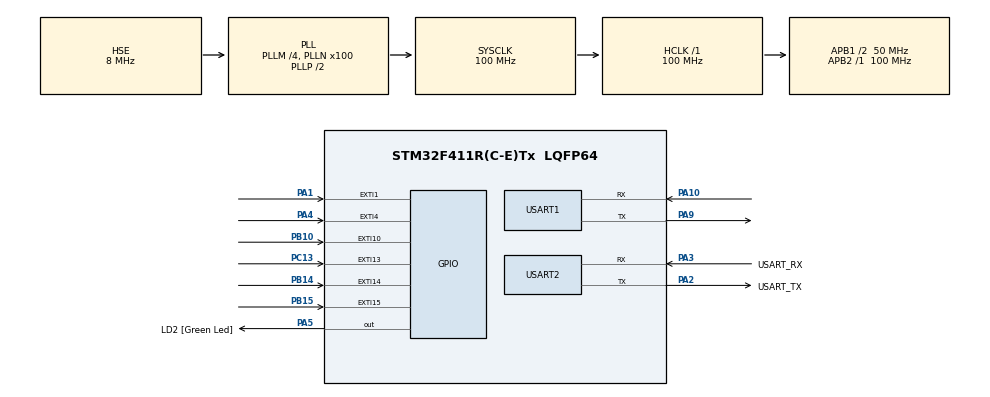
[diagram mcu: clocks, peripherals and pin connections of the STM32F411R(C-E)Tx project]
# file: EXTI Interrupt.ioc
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Mcu.Family=STM32F4
Mcu.Name=STM32F411R(C-E)Tx
Mcu.Package=LQFP64
NVIC.EXTI15_10_IRQn=true\:0\:0\:false\:true\:true\:3\:true\:true
NVIC.PriorityGroup=NVIC_PRIORITYGROUP_0
NVIC.TIM1_UP_TIM10_IRQn=true\:0\:0\:false\:true\:true\:2\:true\:true
NVIC.USART1_IRQn=true\:0\:0\:false\:true\:true\:1\:true\:true
PA1.Signal=GPXTI1
PA10.Mode=Asynchronous
PA10.Signal=USART1_RX
PA13.GPIO_Label=TMS
PA13.Mode=Serial_Wire
PA13.Signal=SYS_JTMS-SWDIO
PA14.GPIO_Label=TCK
PA14.Mode=Serial_Wire
PA14.Signal=SYS_JTCK-SWCLK
PA2.GPIO_Label=USART_TX
PA2.Mode=Asynchronous
PA2.Signal=USART2_TX
PA3.GPIO_Label=USART_RX
PA3.Mode=Asynchronous
PA3.Signal=USART2_RX
PA4.Signal=GPXTI4
PA5.GPIO_Label=LD2 [Green Led]
PA5.Signal=GPIO_Output
PA9.Mode=Asynchronous
PA9.Signal=USART1_TX
PB10.Signal=GPXTI10
PB14.GPIO_ModeDefaultEXTI=GPIO_MODE_IT_RISING
PB14.Signal=GPXTI14
PB15.GPIO_ModeDefaultEXTI=GPIO_MODE_IT_RISING
PB15.Signal=GPXTI15
PB3.GPIO_Label=SWO
PB3.Signal=SYS_JTDO-SWO
PC13-ANTI_TAMP.Signal=GPXTI13
PC14-OSC32_IN.Mode=LSE-External-Oscillator
PC14-OSC32_IN.Signal=RCC_OSC32_IN
PC15-OSC32_OUT.Mode=LSE-External-Oscillator
PC15-OSC32_OUT.Signal=RCC_OSC32_OUT
PH0\ -\ OSC_IN.Mode=HSE-External-Clock-Source
PH0\ -\ OSC_IN.Signal=RCC_OSC_IN
PH1\ -\ OSC_OUT.Mode=HSE-External-Clock-Source
PH1\ -\ OSC_OUT.Signal=RCC_OSC_OUT
ProjectManager.HeapSize=0x200
ProjectManager.StackSize=0x400
ProjectManager.TargetToolchain=STM32CubeIDE
RCC.48MHZClocksFreq_Value=50000000
RCC.AHBFreq_Value=100000000
RCC.APB1CLKDivider=RCC_HCLK_DIV2
RCC.APB1Freq_Value=50000000
RCC.APB1TimFreq_Value=100000000
RCC.APB2Freq_Value=100000000
RCC.APB2TimFreq_Value=100000000
RCC.CortexFreq_Value=100000000
RCC.FLatency-AdvancedSettings=FLASH_LATENCY_3
RCC.HCLKFreq_Value=100000000
RCC.HSE_VALUE=8000000
RCC.HSI_VALUE=16000000
RCC.PLLM=4
RCC.PLLN=100
RCC.PLLSourceVirtual=RCC_PLLSOURCE_HSE
RCC.SYSCLKFreq_VALUE=100000000
RCC.SYSCLKSource=RCC_SYSCLKSOURCE_PLLCLK
RCC.VCOOutputFreq_Value=200000000
TIM10.Period=8399
TIM10.Prescaler=9999
USART1.VirtualMode=VM_ASYNC
USART2.VirtualMode=VM_ASYNC
VP_TIM10_VS_ClockSourceINT.Mode=Enable_Timer
board=NUCLEO-F411RE

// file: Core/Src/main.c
/* USER CODE BEGIN Header */
/**
  ******************************************************************************
  * @file           : main.c
  * @brief          : Main program body
  ******************************************************************************
  * @attention
  *
  * <h2><center>&copy; Copyright (c) 2022 STMicroelectronics.
  * All rights reserved.</center></h2>
  *
  * This software component is licensed by ST under BSD 3-Clause license,
  * the "License"; You may not use this file except in compliance with the
  * License. You may obtain a copy of the License at:
  *                        opensource.org/licenses/BSD-3-Clause
  *
  ******************************************************************************
  */
/* USER CODE END Header */
#include "main.h"
#include "tim.h"
#include "usart.h"
#include "gpio.h"

/* USER CODE BEGIN Includes */
#include <stdio.h>
/* USER CODE END Includes */

/* USER CODE BEGIN PV */
uint8_t rx1_data[10];
/* USER CODE END PV */

void SystemClock_Config(void);
static void MX_NVIC_Init(void);

/* USER CODE BEGIN 0 */
int _write(int file, char* p, int len)
{
	HAL_UART_Transmit(&huart1, p, len, 10);
	return len;
}
/* USER CODE END 0 */

int main(void)
{

  /* MCU Configuration--------------------------------------------------------*/

  /* Reset of all peripherals, Initializes the Flash interface and the Systick. */
  HAL_Init();

  /* Configure the system clock */
  SystemClock_Config();

  /* Initialize all configured peripherals */
  MX_GPIO_Init();
  MX_USART2_UART_Init();
  MX_USART1_UART_Init();
  MX_TIM10_Init();

  /* Initialize interrupts */
  MX_NVIC_Init();
  /* USER CODE BEGIN 2 */
  HAL_UART_Receive_IT(&huart1, rx1_data, 10); // rx2_data 1Byte의 데이터가 들어오면 함수를 실행 인터럽트 함수를 호출하기 위해 필요
  HAL_TIM_Base_Start_IT(&htim10);
  /* USER CODE END 2 */

  /* Infinite loop */
  while (1)
  {

  }
}

void SystemClock_Config(void)
{
  RCC_OscInitTypeDef RCC_OscInitStruct = {0};
  RCC_ClkInitTypeDef RCC_ClkInitStruct = {0};

  /** Configure the main internal regulator output voltage
  */
  __HAL_RCC_PWR_CLK_ENABLE();
  __HAL_PWR_VOLTAGESCALING_CONFIG(PWR_REGULATOR_VOLTAGE_SCALE1);
  /** Initializes the RCC Oscillators according to the specified parameters
  * in the RCC_OscInitTypeDef structure.
  */
  RCC_OscInitStruct.OscillatorType = RCC_OSCILLATORTYPE_HSE;
  RCC_OscInitStruct.HSEState = RCC_HSE_BYPASS;
  RCC_OscInitStruct.PLL.PLLState = RCC_PLL_ON;
  RCC_OscInitStruct.PLL.PLLSource = RCC_PLLSOURCE_HSE;
  RCC_OscInitStruct.PLL.PLLM = 4;
  RCC_OscInitStruct.PLL.PLLN = 100;
  RCC_OscInitStruct.PLL.PLLP = RCC_PLLP_DIV2;
  RCC_OscInitStruct.PLL.PLLQ = 4;
  if (HAL_RCC_OscConfig(&RCC_OscInitStruct) != HAL_OK)
  {
    Error_Handler();
  }
  /** Initializes the CPU, AHB and APB buses clocks
  */
  RCC_ClkInitStruct.ClockType = RCC_CLOCKTYPE_HCLK|RCC_CLOCKTYPE_SYSCLK
                              |RCC_CLOCKTYPE_PCLK1|RCC_CLOCKTYPE_PCLK2;
  RCC_ClkInitStruct.SYSCLKSource = RCC_SYSCLKSOURCE_PLLCLK;
  RCC_ClkInitStruct.AHBCLKDivider = RCC_SYSCLK_DIV1;
  RCC_ClkInitStruct.APB1CLKDivider = RCC_HCLK_DIV2;
  RCC_ClkInitStruct.APB2CLKDivider = RCC_HCLK_DIV1;

  if (HAL_RCC_ClockConfig(&RCC_ClkInitStruct, FLASH_LATENCY_3) != HAL_OK)
  {
    Error_Handler();
  }
}

/**
  * @brief NVIC Configuration.
  * @retval None
  */
static void MX_NVIC_Init(void)
{
  /* USART1_IRQn interrupt configuration */
  HAL_NVIC_SetPriority(USART1_IRQn, 0, 0);
  HAL_NVIC_EnableIRQ(USART1_IRQn);
  /* TIM1_UP_TIM10_IRQn interrupt configuration */
  HAL_NVIC_SetPriority(TIM1_UP_TIM10_IRQn, 0, 0);
  HAL_NVIC_EnableIRQ(TIM1_UP_TIM10_IRQn);
  /* EXTI15_10_IRQn interrupt configuration */
  HAL_NVIC_SetPriority(EXTI15_10_IRQn, 0, 0);
  HAL_NVIC_EnableIRQ(EXTI15_10_IRQn);
}

/* USER CODE BEGIN 4 */
void HAL_UART_RxCpltCallback(UART_HandleTypeDef *huart)
{
	if(huart->Instance == USART1)
	{
		HAL_UART_Receive_IT(&huart1, rx1_data, 10);
		HAL_UART_Transmit(&huart1, rx1_data, 1, 10);
	}
}

void HAL_TIM_PeriodElapsedCallback(TIM_HandleTypeDef *htim)
{
	static unsigned char cnt = 0;
	if(htim->Instance == TIM10)
	{
		cnt++;
	}
}

void HAL_GPIO_EXTI_Callback(uint16_t GPIO_Pin)
{
	if(GPIO_Pin == GPIO_PIN_13)
	{
		HAL_GPIO_TogglePin(GPIOA, GPIO_PIN_5);
	}
}
/* USER CODE END 4 */

void Error_Handler(void)
{
  __disable_irq();
  while (1)
  {
  }
}

/************************ (C) COPYRIGHT STMicroelectronics *****END OF FILE****/
